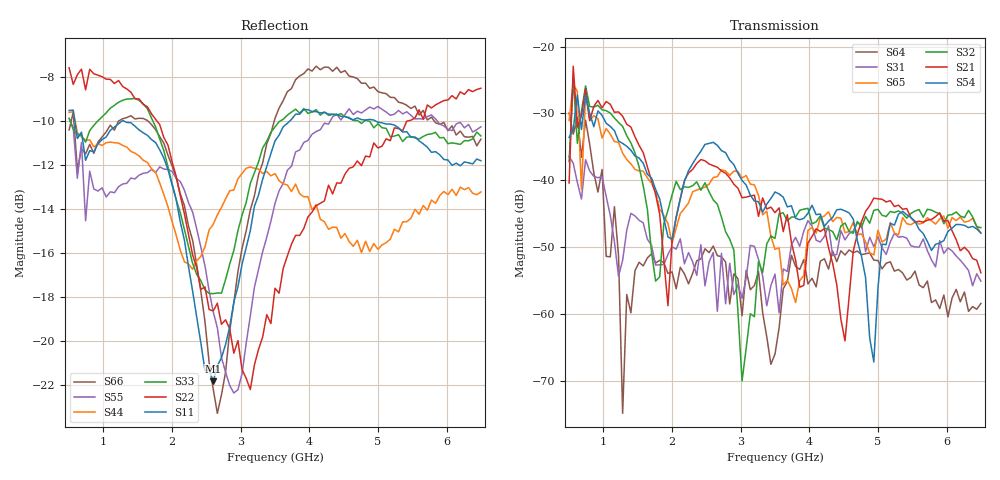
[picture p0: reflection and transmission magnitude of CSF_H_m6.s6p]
!Keysight Technologies,M9804A,MY58100912,A.14.10.03
!Date: Thursday, April 27, 2023 10:28:33
!Correction: S11(C  6-Port  )
!S12(C  6-Port  )
!S13(C  6-Port  )
!S14(C  6-Port  )
!S15(C  6-Port  )
!S16(C  6-Port  )
!S21(C  6-Port  )
!S22(C  6-Port  )
!S23(C  6-Port  )
!S24(C  6-Port  )
!S25(C  6-Port  )
!S26(C  6-Port  )
!S31(C  6-Port  )
!S32(C  6-Port  )
!S33(C  6-Port  )
!S34(C  6-Port  )
!S35(C  6-Port  )
!S36(C  6-Port  )
!S41(C  6-Port  )
!S42(C  6-Port  )
!S43(C  6-Port  )
!S44(C  6-Port  )
!S45(C  6-Port  )
!S46(C  6-Port  )
!S51(C  6-Port  )
!S52(C  6-Port  )
!S53(C  6-Port  )
!S54(C  6-Port  )
!S55(C  6-Port  )
!S56(C  6-Port  )
!S61(C  6-Port  )
!S62(C  6-Port  )
!S63(C  6-Port  )
!S64(C  6-Port  )
!S65(C  6-Port  )
!S66(C  6-Port  )
!S6P File: Measurement: :
# Hz S  RI  R 50
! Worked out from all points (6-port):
!   101 points, 500 MHz to 6.5 GHz, reference 50 ohm
!   strongest paths, dB at 500 MHz, 2 GHz, 3.5 GHz, 5 GHz, 6.5 GHz:
!     S54: -33.6, -48.8, -41.7, -56.1, -47.9
!     S21: -40.4, -49.1, -44.8, -42.8, -53.8
!     S32: -37.2, -42.2, -48.7, -44.4, -47.1
!     S65: -31.1, -49.4, -50.3, -47.5, -47.9
!     S31: -36.4, -49.9, -54.0, -48.4, -55.1
!     S64: -29.9, -53.7, -66.0, -52.0, -58.4
!   lowest |S11| = -21.8 dB at 2.6 GHz (marker M1), VSWR 1.18, Z = 42.7 + j1.9 ohm
!   |S11| at or under -10 dB: 582.6 MHz to 1.275 GHz (692.3 MHz wide, 74.5 % of centre); 1.289 GHz to 3.718 GHz (2.43 GHz wide, 97 % of centre); 4.961 GHz to end of sweep
